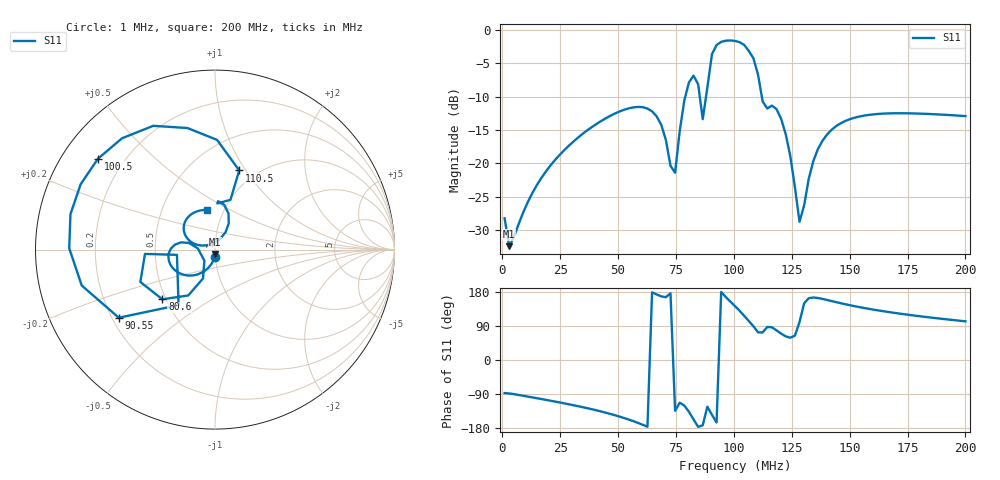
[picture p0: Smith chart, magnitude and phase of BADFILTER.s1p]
!File created by NanoVNA
# Hz S RI R 50
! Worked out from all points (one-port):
!   101 points, 1 MHz to 200 MHz, reference 50 ohm
!   lowest |S11| = -32.4 dB at 2.99 MHz (marker M1), VSWR 1.05, Z = 50 - j2.39 ohm
!   |S11| at or under -10 dB: start of sweep to 79.04 MHz; 85.28 MHz to 87.99 MHz (2.709 MHz wide, 3.13 % of centre); 112.1 MHz to end of sweep
!   S11 on the Smith chart (normalised r, x): 1 MHz: 1.00, -0.08; 80.6 MHz: 0.48, -0.32; 90.55 MHz: 0.23, -0.30; 100.5 MHz: 0.11, +0.34; 110.5 MHz: 0.84, +0.94; 200 MHz: 0.83, +0.39
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1000000  0.00181 -0.0386
2990000  0.000675 -0.0239
1.493e7  -0.0129 -0.0674
2.687e7  -0.0523 -0.1144
5.075e7  -0.211 -0.1239
6.667e7  -0.223 0.0277
7.463e7  -0.0591 -0.061
7.662e7  -0.0668 -0.1607
8.06e7  -0.2932 -0.2769
8.259e7  -0.4159 -0.1803
8.458e7  -0.3902 -0.0241
8.657e7  -0.212 -0.0292
8.856e7  -0.2029 -0.3094
9.055e7  -0.536 -0.3795
9.453e7  -0.8123 0.00782
1.005e8  -0.6521 0.5065
1.0448e8  -0.3439 0.6898
1.0647e8  -0.1528 0.6772
1.1045e8  0.1349 0.441
1.1244e8  0.0861 0.2775
1.1443e8  0.0128 0.257
1.204e8  0.075 0.2022
1.2637e8  0.0287 0.0595
1.2836e8  -0.00635 0.0359
1.3632e8  -0.1227 0.0361
1.5025e8  -0.1743 0.1248
1.7612e8  -0.1137 0.2075
2e8  -0.0473 0.2206
